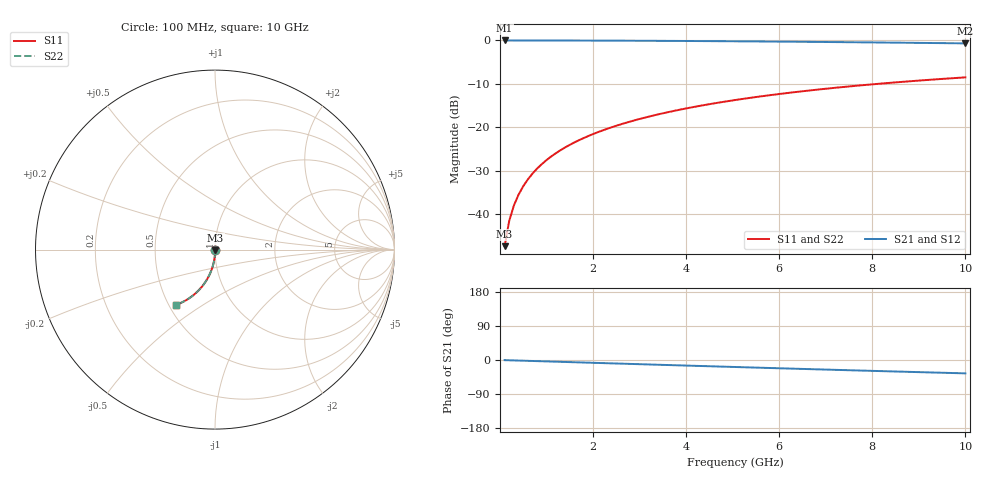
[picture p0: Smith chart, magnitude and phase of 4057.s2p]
# Hz S RI R 50.00
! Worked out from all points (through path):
!   100 points, 100 MHz to 10 GHz, reference 50 ohm
!   highest |S21| = -0.01 dB at 100 MHz (marker M1); lowest = -0.7 dB at 10 GHz (marker M2)
!   group delay of S21, straight-line fit = 9.83 ps
!   lowest |S11| = -47.3 dB at 100 MHz (marker M3), VSWR 1.01, Z = 50.1 - j0.422 ohm
!   |S11| at or under -10 dB: start of sweep to 8.108 GHz
!   |S22| runs from -47.3 to -8.5 dB; largest |S21 - S12| = 0
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1e8  0.000885 -0.00422  0.999 -0.00646  0.999 -0.00646  0.000885 -0.00422
2e8  0.000804 -0.00843  0.9989 -0.0129  0.9989 -0.0129  0.000804 -0.00843
3e8  0.000668 -0.0126  0.9988 -0.0194  0.9988 -0.0194  0.000668 -0.0126
4e8  0.000476 -0.0169  0.9986 -0.0258  0.9986 -0.0258  0.000476 -0.0169
5e8  0.000229 -0.0211  0.9983 -0.0323  0.9983 -0.0323  0.000229 -0.0211
6e8  -7.2e-05 -0.0253  0.998 -0.0387  0.998 -0.0387  -7.2e-05 -0.0253
7e8  -0.000428 -0.0295  0.9976 -0.0451  0.9976 -0.0451  -0.000428 -0.0295
8e8  -0.000838 -0.0337  0.9971 -0.0516  0.9971 -0.0516  -0.000838 -0.0337
9e8  -0.0013 -0.0378  0.9966 -0.058  0.9966 -0.058  -0.0013 -0.0378
1.1e9  -0.00239 -0.0462  0.9954 -0.0708  0.9954 -0.0708  -0.00239 -0.0462
1.4e9  -0.00443 -0.0586  0.9932 -0.09  0.9932 -0.09  -0.00443 -0.0586
1.8e9  -0.00788 -0.0751  0.9894 -0.1154  0.9894 -0.1154  -0.00788 -0.0751
2.1e9  -0.011 -0.0872  0.9859 -0.1343  0.9859 -0.1343  -0.011 -0.0872
2.5e9  -0.0159 -0.1032  0.9806 -0.1593  0.9806 -0.1593  -0.0159 -0.1032
2.9e9  -0.0216 -0.1189  0.9743 -0.184  0.9743 -0.184  -0.0216 -0.1189
3.4e9  -0.0298 -0.138  0.9653 -0.2143  0.9653 -0.2143  -0.0298 -0.138
4.2e9  -0.0452 -0.1671  0.9483 -0.2614  0.9483 -0.2614  -0.0452 -0.1671
5.1e9  -0.0658 -0.1974  0.9256 -0.3121  0.9256 -0.3121  -0.0658 -0.1974
5.9e9  -0.0865 -0.222  0.9026 -0.3548  0.9026 -0.3548  -0.0865 -0.222
6.7e9  -0.1092 -0.2442  0.8772 -0.3951  0.8772 -0.3951  -0.1092 -0.2442
8.4e9  -0.1625 -0.2825  0.8172 -0.4722  0.8172 -0.4722  -0.1625 -0.2825
1e10  -0.2165 -0.3074  0.7552 -0.5339  0.7552 -0.5339  -0.2165 -0.3074
